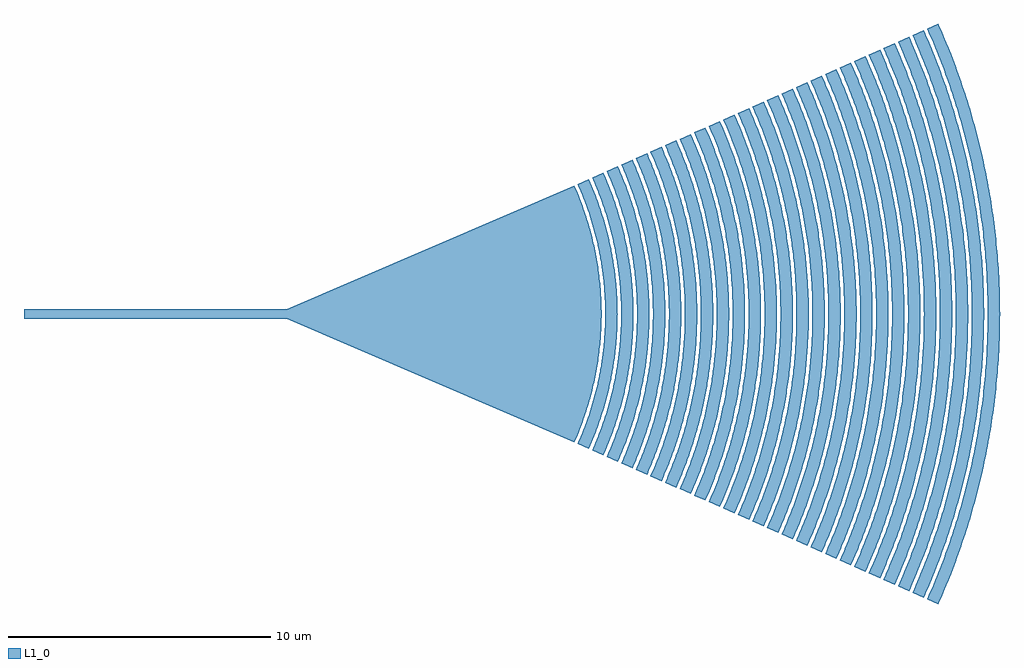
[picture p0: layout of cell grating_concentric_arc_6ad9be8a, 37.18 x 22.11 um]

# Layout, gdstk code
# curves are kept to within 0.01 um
import gdstk
lib = gdstk.Library(unit=1e-6, precision=2e-09)
def R(c, l, rs):  # rectangles x0, y0, x1, y1
    for r in rs: c.add(gdstk.rectangle(r[:2], r[2:], *l))
def P(c, l, *ps):  # polygons
    for p in ps: c.add(gdstk.Polygon(p, *l))
L1_0 = (1, 0)

straight_3aa2beef = lib.new_cell('straight_3aa2beef')
R(straight_3aa2beef, L1_0, [(0,-0.174,10,0.174)])

ring_9853b478_transform_ = lib.new_cell('ring_9853b478_transform_fa3196a7')
P(ring_9853b478_transform_, L1_0, [(11.092,-4.938),(11.458,-4.02),(11.612,-3.55),(11.782,-2.938),(11.932,-2.248),(12.004,-1.83),(12.076,-1.27),(12.126,-0.636),(12.142,0.07),(12.122,0.706),(12.052,1.48),(11.958,2.108),(11.782,2.938),(11.612,3.55),(11.386,4.22),(11.092,4.938),(11.518,5.128),(11.822,4.38),(12.078,3.616),(12.268,2.908),(12.39,2.334),(12.514,1.536),(12.572,0.952),(12.606,0.22),(12.594,-0.586),(12.514,-1.536),(12.39,-2.334),(12.178,-3.262),(11.944,-4.036),(11.744,-4.586),(11.518,-5.128)])

ring_d2e3e927_transform_ = lib.new_cell('ring_d2e3e927_transform_7a8b0432')
P(ring_d2e3e927_transform_, L1_0, [(11.646,-5.186),(11.876,-4.638),(12.102,-4.01),(12.276,-3.442),(12.406,-2.94),(12.556,-2.214),(12.654,-1.554),(12.718,-0.89),(12.742,-0.444),(12.742,0.444),(12.694,1.184),(12.604,1.922),(12.486,2.578),(12.334,3.228),(12.148,3.868),(11.876,4.638),(11.646,5.186),(12.072,5.374),(12.364,4.664),(12.568,4.084),(12.784,3.346),(12.972,2.522),(13.116,1.61),(13.188,0.846),(13.214,0.154),(13.204,-0.538),(13.134,-1.458),(13.064,-1.992),(12.972,-2.522),(12.784,-3.346),(12.52,-4.23),(12.308,-4.808),(12.072,-5.374)])

ring_f95bd234_transform_ = lib.new_cell('ring_f95bd234_transform_7506355c')
P(ring_f95bd234_transform_, L1_0, [(12.202,-5.432),(12.384,-5.004),(12.654,-4.274),(12.86,-3.606),(13.014,-3.004),(13.126,-2.472),(13.226,-1.858),(13.306,-1.164),(13.348,-0.466),(13.354,0.234),(13.324,0.932),(13.256,1.628),(13.126,2.472),(12.96,3.232),(12.75,3.98),(12.524,4.64),(12.202,5.432),(12.626,5.622),(12.904,4.954),(13.194,4.118),(13.392,3.422),(13.568,2.638),(13.698,1.844),(13.776,1.124),(13.82,0.242),(13.81,-0.562),(13.746,-1.444),(13.598,-2.48),(13.392,-3.422),(13.12,-4.348),(12.904,-4.954),(12.626,-5.622)])

ring_1d02156d_transform_ = lib.new_cell('ring_1d02156d_transform_f1a4bc59')
P(ring_1d02156d_transform_, L1_0, [(12.756,-5.68),(13.036,-5.004),(13.28,-4.314),(13.488,-3.614),(13.624,-3.062),(13.722,-2.584),(13.828,-1.944),(13.924,-1.056),(13.958,-0.406),(13.96,0.324),(13.924,1.056),(13.828,1.944),(13.722,2.584),(13.568,3.3),(13.304,4.238),(13.036,5.004),(12.756,5.68),(13.18,5.868),(13.53,5.014),(13.774,4.298),(13.98,3.572),(14.164,2.754),(14.3,1.924),(14.388,1.09),(14.428,0.168),(14.42,-0.504),(14.35,-1.508),(14.21,-2.506),(14.04,-3.328),(13.774,-4.298),(13.53,-5.014),(13.18,-5.868)])

ring_b1e10811_transform_ = lib.new_cell('ring_b1e10811_transform_8223aa25')
P(ring_b1e10811_transform_, L1_0, [(13.31,-5.926),(13.572,-5.3),(13.804,-4.664),(14.006,-4.016),(14.178,-3.36),(14.334,-2.614),(14.44,-1.944),(14.522,-1.186),(14.562,-0.508),(14.566,0.34),(14.522,1.186),(14.44,1.944),(14.286,2.864),(14.138,3.524),(13.934,4.26),(13.692,4.984),(13.31,5.926),(13.736,6.116),(14.006,5.47),(14.3,4.646),(14.568,3.722),(14.76,2.868),(14.902,2.006),(14.986,1.224),(15.03,0.438),(15.03,-0.438),(14.954,-1.572),(14.822,-2.524),(14.61,-3.552),(14.3,-4.646),(14.006,-5.47),(13.736,-6.116)])

ring_006c710a_transform_ = lib.new_cell('ring_006c710a_transform_98682147')
P(ring_006c710a_transform_, L1_0, [(13.864,-6.174),(14.138,-5.522),(14.462,-4.606),(14.614,-4.098),(14.808,-3.328),(14.962,-2.548),(15.064,-1.85),(15.134,-1.146),(15.174,-0.354),(15.174,0.354),(15.12,1.322),(15.03,2.112),(14.882,2.982),(14.704,3.758),(14.462,4.606),(14.138,5.522),(13.864,6.174),(14.29,6.362),(14.604,5.606),(14.932,4.66),(15.156,3.872),(15.356,2.984),(15.478,2.268),(15.548,1.726),(15.598,1.182),(15.642,0.182),(15.63,-0.636),(15.548,-1.726),(15.436,-2.536),(15.32,-3.164),(15.2,-3.696),(15.062,-4.224),(14.904,-4.748),(14.604,-5.606),(14.29,-6.362)])

ring_5fafa132_transform_ = lib.new_cell('ring_5fafa132_transform_efe69608')
P(ring_5fafa132_transform_, L1_0, [(14.42,-6.42),(14.67,-5.828),(14.984,-4.964),(15.198,-4.262),(15.38,-3.55),(15.512,-2.922),(15.656,-2.014),(15.74,-1.192),(15.778,-0.46),(15.778,0.46),(15.74,1.192),(15.644,2.106),(15.512,2.922),(15.338,3.73),(15.068,4.702),(14.736,5.656),(14.42,6.42),(14.844,6.61),(15.238,5.646),(15.484,4.932),(15.744,4.022),(15.952,3.1),(16.092,2.262),(16.204,1.228),(16.248,0.284),(16.24,-0.568),(16.18,-1.51),(16.034,-2.636),(15.834,-3.656),(15.672,-4.296),(15.512,-4.842),(15.238,-5.646),(14.844,-6.61)])

ring_2372771e_transform_ = lib.new_cell('ring_2372771e_transform_ab5fc2e6')
P(ring_2372771e_transform_, L1_0, [(14.974,-6.666),(15.234,-6.052),(15.53,-5.246),(15.73,-4.61),(15.972,-3.688),(16.126,-2.94),(16.258,-2.092),(16.352,-1.144),(16.382,-0.572),(16.392,0.096),(16.352,1.144),(16.258,2.092),(16.072,3.222),(15.858,4.15),(15.59,5.066),(15.268,5.964),(14.974,6.666),(15.4,6.856),(15.772,5.95),(16.092,5.022),(16.38,3.982),(16.566,3.12),(16.732,2.054),(16.816,1.176),(16.85,0.49),(16.85,-0.49),(16.784,-1.566),(16.732,-2.054),(16.618,-2.83),(16.38,-3.982),(16.092,-5.022),(15.772,-5.95),(15.4,-6.856)])

ring_c454539f_transform_ = lib.new_cell('ring_c454539f_transform_4f6c2024')
P(ring_c454539f_transform_, L1_0, [(15.528,-6.914),(15.87,-6.092),(16.136,-5.346),(16.394,-4.494),(16.584,-3.728),(16.758,-2.854),(16.86,-2.17),(16.95,-1.284),(16.992,-0.494),(16.992,0.494),(16.934,1.482),(16.884,1.974),(16.79,2.66),(16.648,3.438),(16.42,4.4),(16.136,5.346),(15.87,6.092),(15.528,6.914),(15.954,7.104),(16.268,6.354),(16.64,5.3),(16.92,4.324),(17.124,3.432),(17.28,2.532),(17.398,1.522),(17.46,0.406),(17.454,-0.61),(17.422,-1.218),(17.358,-1.926),(17.216,-2.932),(17.124,-3.432),(16.97,-4.126),(16.73,-5.008),(16.376,-6.068),(15.954,-7.104)])

ring_e7e3e94f_transform_ = lib.new_cell('ring_e7e3e94f_transform_34a8778a')
P(ring_e7e3e94f_transform_, L1_0, [(16.084,-7.16),(16.4,-6.404),(16.712,-5.538),(16.952,-4.754),(17.2,-3.76),(17.356,-2.956),(17.462,-2.248),(17.556,-1.33),(17.598,-0.512),(17.598,0.512),(17.548,1.432),(17.462,2.248),(17.282,3.36),(17.058,4.358),(16.776,5.342),(16.436,6.31),(16.084,7.16),(16.508,7.35),(16.794,6.672),(17.154,5.684),(17.456,4.678),(17.698,3.654),(17.88,2.62),(18.002,1.574),(18.064,0.526),(18.064,-0.526),(18.02,-1.366),(17.972,-1.888),(17.832,-2.93),(17.608,-4.066),(17.456,-4.678),(17.282,-5.284),(16.908,-6.378),(16.508,-7.35)])

ring_1cf46539_transform_ = lib.new_cell('ring_1cf46539_transform_6ac54a0b')
P(ring_1cf46539_transform_, L1_0, [(16.638,-7.408),(16.964,-6.626),(17.322,-5.628),(17.62,-4.612),(17.77,-3.994),(17.918,-3.266),(18.064,-2.324),(18.144,-1.588),(18.202,-0.636),(18.208,0.424),(18.144,1.588),(18.036,2.534),(17.858,3.58),(17.62,4.612),(17.354,5.528),(17.04,6.428),(16.638,7.408),(17.064,7.596),(17.438,6.694),(17.798,5.668),(18.124,4.518),(18.356,3.458),(18.526,2.384),(18.616,1.52),(18.676,0.326),(18.67,-0.544),(18.598,-1.736),(18.448,-2.922),(18.356,-3.458),(18.2,-4.202),(17.894,-5.356),(17.552,-6.388),(17.318,-6.996),(17.064,-7.596)])

ring_25a18d31_transform_ = lib.new_cell('ring_25a18d31_transform_8b28557c')
P(ring_25a18d31_transform_, L1_0, [(17.192,-7.654),(17.57,-6.744),(17.83,-6.024),(18.09,-5.188),(18.338,-4.234),(18.534,-3.268),(18.68,-2.294),(18.758,-1.532),(18.812,-0.548),(18.812,0.548),(18.758,1.532),(18.652,2.51),(18.474,3.59),(18.234,4.66),(17.932,5.712),(17.57,6.744),(17.192,7.654),(17.618,7.844),(18.084,6.702),(18.41,5.746),(18.712,4.666),(18.952,3.57),(19.128,2.462),(19.222,1.568),(19.28,0.448),(19.274,-0.674),(19.246,-1.234),(19.18,-2.016),(19.012,-3.238),(18.766,-4.448),(18.628,-4.992),(18.41,-5.746),(18.084,-6.702),(17.618,-7.844)])

ring_22ec800d_transform_ = lib.new_cell('ring_22ec800d_transform_b1160fde')
P(ring_22ec800d_transform_, L1_0, [(17.748,-7.902),(18.096,-7.068),(18.476,-6.004),(18.736,-5.138),(18.954,-4.26),(19.132,-3.374),(19.296,-2.256),(19.38,-1.356),(19.422,-0.452),(19.426,0.226),(19.406,0.904),(19.332,1.918),(19.188,3.04),(19.026,3.928),(18.904,4.48),(18.736,5.138),(18.476,6.004),(18.096,7.068),(17.748,7.902),(18.172,8.09),(18.53,7.236),(18.954,6.036),(19.244,5.036),(19.482,4.022),(19.682,2.882),(19.816,1.734),(19.884,0.578),(19.884,-0.578),(19.852,-1.272),(19.806,-1.848),(19.73,-2.54),(19.648,-3.112),(19.408,-4.362),(19.09,-5.594),(18.692,-6.804),(18.444,-7.452),(18.172,-8.09)])

ring_2f7f0ce4_transform_ = lib.new_cell('ring_2f7f0ce4_transform_0e426174')
P(ring_2f7f0ce4_transform_, L1_0, [(18.302,-8.148),(18.704,-7.18),(19.054,-6.19),(19.352,-5.186),(19.572,-4.28),(19.75,-3.364),(19.87,-2.558),(19.968,-1.63),(20.026,-0.582),(20.026,0.582),(19.968,1.63),(19.912,2.21),(19.806,3.018),(19.644,3.936),(19.352,5.186),(19.054,6.19),(18.704,7.18),(18.302,8.148),(18.726,8.338),(19.138,7.346),(19.532,6.222),(19.832,5.19),(20.1,4.028),(20.3,2.852),(20.422,1.786),(20.472,1.072),(20.494,0.476),(20.494,-0.476),(20.472,-1.072),(20.422,-1.786),(20.266,-3.088),(20.052,-4.262),(19.862,-5.074),(19.706,-5.65),(19.496,-6.334),(19.222,-7.124),(18.962,-7.79),(18.726,-8.338)])

ring_18a2857c_transform_ = lib.new_cell('ring_18a2857c_transform_0dc92606')
P(ring_18a2857c_transform_, L1_0, [(18.856,-8.396),(19.27,-7.398),(19.556,-6.606),(19.842,-5.69),(20.112,-4.644),(20.328,-3.584),(20.488,-2.516),(20.582,-1.56),(20.636,-0.48),(20.64,0.24),(20.624,0.84),(20.552,1.918),(20.406,3.11),(20.262,3.938),(20.028,4.994),(19.704,6.15),(19.27,7.398),(18.856,8.396),(19.282,8.584),(19.524,8.02),(19.792,7.334),(20.148,6.288),(20.45,5.226),(20.718,4.028),(20.918,2.816),(21.036,1.718),(21.098,0.614),(21.098,-0.614),(21.064,-1.35),(21.004,-2.084),(20.866,-3.18),(20.742,-3.906),(20.62,-4.508),(20.322,-5.7),(20.074,-6.522),(19.876,-7.104),(19.616,-7.792),(19.282,-8.584)])

ring_70e96963_transform_ = lib.new_cell('ring_70e96963_transform_f18572f6')
P(ring_70e96963_transform_, L1_0, [(19.41,-8.642),(19.792,-7.73),(20.17,-6.684),(20.492,-5.618),(20.704,-4.78),(20.926,-3.69),(21.09,-2.59),(21.188,-1.606),(21.242,-0.494),(21.242,0.494),(21.212,1.236),(21.168,1.852),(21.042,2.958),(20.834,4.176),(20.556,5.38),(20.284,6.33),(19.924,7.384),(19.654,8.074),(19.41,8.642),(19.836,8.832),(20.272,7.782),(20.69,6.59),(21.038,5.376),(21.29,4.268),(21.466,3.272),(21.62,2.018),(21.696,0.884),(21.712,0.252),(21.708,-0.506),(21.684,-1.136),(21.62,-2.018),(21.466,-3.272),(21.362,-3.894),(21.212,-4.638),(20.906,-5.864),(20.69,-6.59),(20.404,-7.426),(20.18,-8.016),(19.836,-8.832)])

ring_a0792e12_transform_ = lib.new_cell('ring_a0792e12_transform_e0e5addf')
P(ring_a0792e12_transform_, L1_0, [(19.966,-8.89),(20.404,-7.832),(20.786,-6.754),(21.078,-5.78),(21.324,-4.792),(21.566,-3.544),(21.708,-2.538),(21.802,-1.524),(21.85,-0.508),(21.842,0.762),(21.772,1.904),(21.708,2.538),(21.606,3.294),(21.404,4.42),(21.266,5.04),(21.078,5.78),(20.786,6.754),(20.404,7.832),(19.966,8.89),(20.39,9.078),(20.696,8.362),(20.884,7.878),(21.268,6.774),(21.594,5.652),(21.886,4.386),(22.104,3.106),(22.236,1.946),(22.302,0.908),(22.32,0.13),(22.314,-0.52),(22.29,-1.168),(22.236,-1.946),(22.17,-2.592),(22.066,-3.364),(21.982,-3.876),(21.806,-4.768),(21.492,-6.028),(21.228,-6.898),(20.93,-7.756),(20.696,-8.362),(20.39,-9.078)])

ring_972d4ddc_transform_ = lib.new_cell('ring_972d4ddc_transform_abe4152f')
P(ring_972d4ddc_transform_, L1_0, [(20.52,-9.136),(20.876,-8.294),(21.322,-7.066),(21.628,-6.066),(21.916,-4.926),(22.144,-3.772),(22.326,-2.478),(22.408,-1.566),(22.456,-0.522),(22.456,0.522),(22.432,1.176),(22.388,1.828),(22.262,2.996),(22.05,4.286),(21.916,4.926),(21.73,5.688),(21.442,6.692),(21.196,7.436),(20.97,8.05),(20.52,9.136),(20.946,9.326),(21.452,8.092),(21.806,7.084),(22.18,5.806),(22.454,4.636),(22.58,3.982),(22.686,3.322),(22.828,2.132),(22.914,0.8),(22.928,0.134),(22.922,-0.534),(22.852,-1.866),(22.788,-2.53),(22.686,-3.322),(22.58,-3.982),(22.454,-4.636),(22.31,-5.288),(22.076,-6.192),(21.806,-7.084),(21.59,-7.716),(21.308,-8.464),(20.946,-9.326)])

ring_90041f3c_transform_ = lib.new_cell('ring_90041f3c_transform_09af0b75')
P(ring_90041f3c_transform_, L1_0, [(21.074,-9.384),(21.44,-8.518),(21.856,-7.384),(22.176,-6.358),(22.478,-5.19),(22.696,-4.138),(22.898,-2.812),(23.004,-1.744),(23.06,-0.67),(23.06,0.67),(22.982,2.01),(22.914,2.678),(22.826,3.344),(22.62,4.534),(22.352,5.712),(21.982,7.002),(21.536,8.268),(21.074,9.384),(21.5,9.572),(21.972,8.434),(22.208,7.792),(22.466,7.012),(22.836,5.694),(23.076,4.624),(23.178,4.086),(23.306,3.276),(23.406,2.46),(23.468,1.778),(23.528,0.548),(23.528,-0.548),(23.468,-1.778),(23.376,-2.732),(23.266,-3.546),(23.178,-4.086),(22.992,-5.026),(22.836,-5.694),(22.66,-6.356),(22.466,-7.012),(22.116,-8.05),(21.872,-8.69),(21.5,-9.572)])

ring_c9f5fac3_transform_ = lib.new_cell('ring_c9f5fac3_transform_2912d9de')
P(ring_c9f5fac3_transform_, L1_0, [(21.63,-9.63),(22.054,-8.614),(22.474,-7.448),(22.76,-6.526),(23.07,-5.326),(23.188,-4.788),(23.34,-3.976),(23.5,-2.886),(23.618,-1.652),(23.67,-0.55),(23.662,0.826),(23.628,1.514),(23.574,2.2),(23.5,2.886),(23.406,3.568),(23.188,4.788),(22.94,5.862),(22.76,6.526),(22.56,7.186),(22.342,7.838),(22.104,8.484),(21.63,9.63),(22.054,9.82),(22.538,8.652),(23.004,7.326),(23.168,6.79),(23.39,5.976),(23.554,5.294),(23.698,4.606),(23.822,3.916),(23.926,3.22),(24.062,1.964),(24.132,0.702),(24.136,-0.562),(24.062,-1.964),(24.01,-2.524),(23.906,-3.36),(23.75,-4.33),(23.614,-5.02),(23.32,-6.248),(23.046,-7.192),(22.734,-8.124),(22.384,-9.044),(22.054,-9.82)])

ring_151f0255_transform_ = lib.new_cell('ring_151f0255_transform_9e8ff15e')
P(ring_151f0255_transform_, L1_0, [(22.184,-9.876),(22.62,-8.834),(23.006,-7.772),(23.382,-6.558),(23.692,-5.324),(23.838,-4.634),(23.962,-3.938),(24.12,-2.82),(24.214,-1.834),(24.274,-0.706),(24.274,0.706),(24.214,1.834),(24.136,2.678),(24.048,3.38),(23.838,4.634),(23.528,6.012),(23.304,6.83),(23.138,7.37),(22.914,8.04),(22.62,8.834),(22.184,9.876),(22.61,10.066),(23.104,8.87),(23.538,7.648),(23.906,6.406),(24.082,5.708),(24.238,5.004),(24.348,4.44),(24.488,3.586),(24.642,2.3),(24.734,0.864),(24.748,0.288),(24.742,-0.576),(24.698,-1.582),(24.642,-2.3),(24.488,-3.586),(24.348,-4.44),(24.208,-5.146),(24.014,-5.988),(23.83,-6.684),(23.582,-7.51),(23.306,-8.33),(23,-9.138),(22.61,-10.066)])

ring_7acd2855_transform_ = lib.new_cell('ring_7acd2855_transform_03193d90')
P(ring_7acd2855_transform_, L1_0, [(22.738,-10.124),(23.238,-8.92),(23.628,-7.83),(23.966,-6.722),(24.152,-6.022),(24.316,-5.316),(24.538,-4.18),(24.722,-2.89),(24.82,-1.88),(24.884,-0.58),(24.876,0.868),(24.796,2.17),(24.722,2.89),(24.628,3.608),(24.406,4.892),(24.152,6.022),(23.966,6.722),(23.76,7.416),(23.582,7.966),(23.238,8.92),(22.738,10.124),(23.164,10.314),(23.672,9.086),(23.926,8.394),(24.16,7.694),(24.53,6.42),(24.706,5.704),(24.862,4.982),(24.996,4.258),(25.11,3.528),(25.26,2.21),(25.322,1.328),(25.346,0.738),(25.346,-0.738),(25.322,-1.328),(25.26,-2.21),(25.202,-2.798),(25.044,-3.966),(24.802,-5.272),(24.638,-5.99),(24.414,-6.848),(24.16,-7.694),(23.876,-8.534),(23.51,-9.498),(23.164,-10.314)])

ring_ba9b1be8_transform_ = lib.new_cell('ring_ba9b1be8_transform_7da858ec')
P(ring_ba9b1be8_transform_, L1_0, [(23.294,-10.37),(23.804,-9.138),(24.25,-7.88),(24.59,-6.742),(24.91,-5.446),(25.136,-4.282),(25.326,-2.96),(25.446,-1.63),(25.494,-0.444),(25.482,0.89),(25.446,1.63),(25.388,2.37),(25.25,3.548),(25.03,4.866),(24.91,5.446),(24.704,6.312),(24.34,7.596),(24.06,8.442),(23.804,9.138),(23.294,10.37),(23.718,10.56),(24.016,9.866),(24.346,9.022),(24.784,7.736),(24.958,7.156),(25.192,6.28),(25.486,4.954),(25.71,3.614),(25.864,2.262),(25.948,0.906),(25.962,0.302),(25.956,-0.604),(25.928,-1.358),(25.864,-2.262),(25.71,-3.614),(25.542,-4.658),(25.396,-5.398),(25.078,-6.72),(24.784,-7.736),(24.398,-8.88),(24.016,-9.866),(23.718,-10.56)])

ring_6f7b33f0_transform_ = lib.new_cell('ring_6f7b33f0_transform_6966b2f2')
P(ring_6f7b33f0_transform_, L1_0, [(23.848,-10.618),(24.316,-9.496),(24.78,-8.212),(25.176,-6.902),(25.47,-5.724),(25.682,-4.682),(25.892,-3.332),(26.03,-1.972),(26.098,-0.608),(26.094,0.76),(26.052,1.67),(26.006,2.276),(25.872,3.482),(25.76,4.234),(25.596,5.13),(25.33,6.316),(25.094,7.196),(24.92,7.778),(24.732,8.356),(24.424,9.214),(24.146,9.92),(23.848,10.618),(24.272,10.806),(24.806,9.522),(25.27,8.21),(25.498,7.472),(25.704,6.728),(26.022,5.372),(26.14,4.766),(26.29,3.85),(26.44,2.624),(26.542,1.236),(26.566,0.464),(26.566,-0.464),(26.542,-1.236),(26.482,-2.162),(26.408,-2.93),(26.312,-3.698),(26.14,-4.766),(26.022,-5.372),(25.704,-6.728),(25.364,-7.916),(25.072,-8.796),(24.636,-9.954),(24.272,-10.806)])

ring_94117c0a_transform_ = lib.new_cell('ring_94117c0a_transform_c66510cb')
P(ring_94117c0a_transform_, L1_0, [(24.402,-10.864),(24.882,-9.718),(25.356,-8.402),(25.72,-7.214),(25.956,-6.312),(26.096,-5.706),(26.358,-4.332),(26.532,-3.102),(26.636,-2.018),(26.676,-1.398),(26.708,-0.466),(26.712,0.156),(26.69,1.088),(26.636,2.018),(26.582,2.638),(26.43,3.872),(26.306,4.638),(26.16,5.402),(25.842,6.764),(25.452,8.106),(25.206,8.844),(24.938,9.572),(24.402,10.864),(24.828,11.054),(25.372,9.74),(25.644,8.998),(25.896,8.248),(26.124,7.492),(26.332,6.728),(26.648,5.34),(26.89,3.938),(26.994,3.156),(27.074,2.368),(27.132,1.58),(27.166,0.79),(27.17,-0.632),(27.132,-1.58),(27.074,-2.368),(26.994,-3.156),(26.89,-3.938),(26.792,-4.564),(26.584,-5.65),(26.408,-6.422),(26.21,-7.186),(25.896,-8.248),(25.592,-9.146),(25.198,-10.18),(24.828,-11.054)])

grating_concentric_arc_6 = lib.new_cell('grating_concentric_arc_6ad9be8a')
P(grating_concentric_arc_6, L1_0, [(0,0.174),(0,-0.174),(10.962,-4.882),(11.006,-4.786),(11.24,-4.202),(11.476,-3.508),(11.644,-2.902),(11.78,-2.29),(11.868,-1.774),(11.954,-1.046),(11.99,-0.524),(12,0.104),(11.99,0.524),(11.934,1.254),(11.836,1.98),(11.738,2.496),(11.564,3.206),(11.38,3.808),(11.126,4.496),(10.962,4.882)])
grating_concentric_arc_6.add(gdstk.Reference(straight_3aa2beef, (-10,0)))
grating_concentric_arc_6.add(gdstk.Reference(ring_9853b478_transform_, (0,0)))
grating_concentric_arc_6.add(gdstk.Reference(ring_d2e3e927_transform_, (0,0)))
grating_concentric_arc_6.add(gdstk.Reference(ring_f95bd234_transform_, (0,0)))
grating_concentric_arc_6.add(gdstk.Reference(ring_1d02156d_transform_, (0,0)))
grating_concentric_arc_6.add(gdstk.Reference(ring_b1e10811_transform_, (0,0)))
grating_concentric_arc_6.add(gdstk.Reference(ring_006c710a_transform_, (0,0)))
grating_concentric_arc_6.add(gdstk.Reference(ring_5fafa132_transform_, (0,0)))
grating_concentric_arc_6.add(gdstk.Reference(ring_2372771e_transform_, (0,0)))
grating_concentric_arc_6.add(gdstk.Reference(ring_c454539f_transform_, (0,0)))
grating_concentric_arc_6.add(gdstk.Reference(ring_e7e3e94f_transform_, (0,0)))
grating_concentric_arc_6.add(gdstk.Reference(ring_1cf46539_transform_, (0,0)))
grating_concentric_arc_6.add(gdstk.Reference(ring_25a18d31_transform_, (0,0)))
grating_concentric_arc_6.add(gdstk.Reference(ring_22ec800d_transform_, (0,0)))
grating_concentric_arc_6.add(gdstk.Reference(ring_2f7f0ce4_transform_, (0,0)))
grating_concentric_arc_6.add(gdstk.Reference(ring_18a2857c_transform_, (0,0)))
grating_concentric_arc_6.add(gdstk.Reference(ring_70e96963_transform_, (0,0)))
grating_concentric_arc_6.add(gdstk.Reference(ring_a0792e12_transform_, (0,0)))
grating_concentric_arc_6.add(gdstk.Reference(ring_972d4ddc_transform_, (0,0)))
grating_concentric_arc_6.add(gdstk.Reference(ring_90041f3c_transform_, (0,0)))
grating_concentric_arc_6.add(gdstk.Reference(ring_c9f5fac3_transform_, (0,0)))
grating_concentric_arc_6.add(gdstk.Reference(ring_151f0255_transform_, (0,0)))
grating_concentric_arc_6.add(gdstk.Reference(ring_7acd2855_transform_, (0,0)))
grating_concentric_arc_6.add(gdstk.Reference(ring_ba9b1be8_transform_, (0,0)))
grating_concentric_arc_6.add(gdstk.Reference(ring_6f7b33f0_transform_, (0,0)))
grating_concentric_arc_6.add(gdstk.Reference(ring_94117c0a_transform_, (0,0)))

lib.write_gds('grating_concentric_arc_6ad9be8a.gds')
